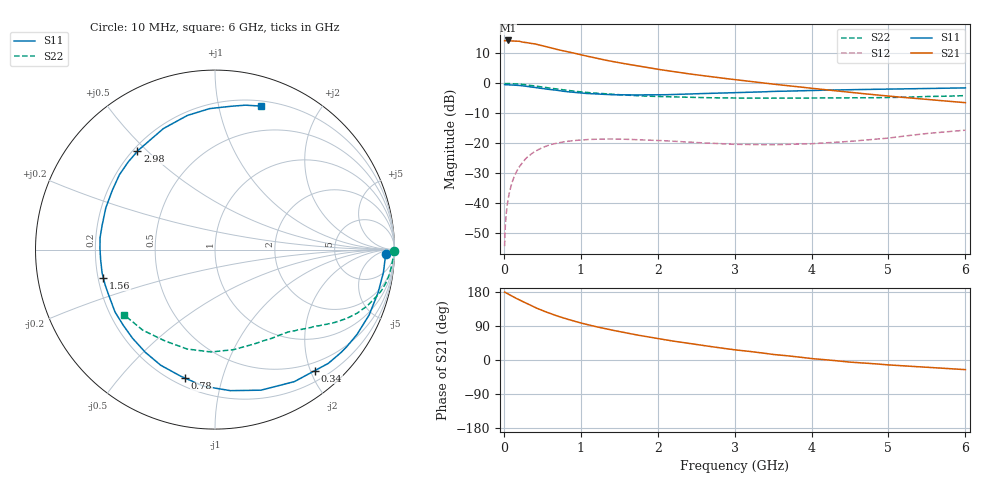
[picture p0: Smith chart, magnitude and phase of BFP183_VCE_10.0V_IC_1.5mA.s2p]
! Infineon Technologies  Discrete & RF Semiconductors
! BFP183
! VCE = 10.0V,  IC =  1.5 mA
! Common Emitter S-Parameters:  Jan 2016
# GHz  S  MA  R  50
!  f  S11  S21  S12  S22
! GHz  MAG  ANG  MAG  ANG  MAG  ANG  MAG  ANG
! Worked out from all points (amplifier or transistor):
!   210 points, 10 MHz to 6 GHz, reference 50 ohm
!   highest |S21| = 14.3 dB at 50 MHz (marker M1)
!   |S21| within 3 dB of that: start of sweep to 691.3 MHz
!   unconditionally stable (mu >= 1): 2.333 GHz to end of sweep
!   at 185 MHz: K = 0.09, MSG = 21.3 dB, |S12| = -28.6 dB
!   at 1.52 GHz: K = 0.64, MSG = 12.7 dB, |S12| = -18.7 dB
!   at 6 GHz: K = 1.01, MAG = 3.9 dB, |S12| = -15.7 dB
!   S11 on the Smith chart (normalised r, x): 10 MHz: 33, -18; 340 MHz: 0.36, -2.07; 780 MHz: 0.25, -0.77; 1.56 GHz: 0.22, -0.12; 2.98 GHz: 0.22, +0.47; 6 GHz: 0.25, +1.34
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0.01  0.9544 -1.5  5.161 179.1  0.0019 85.3  0.9986 -0.5
0.02  0.9491 -3.2  5.16 178.4  0.0043 90.0  0.9887 -1.1
0.05  0.9469 -7.8  5.206 174.6  0.0105 86.8  0.9929 -2.8
0.11  0.9368 -16.6  5.097 168.3  0.0226 78.7  0.9858 -6.1
0.2  0.9217 -30.8  5.045 158.6  0.0401 72.0  0.9695 -11.1
0.34  0.8739 -50.5  4.68 145.2  0.0635 60.3  0.9252 -17.5
0.4  0.8582 -59.0  4.571 139.0  0.0723 56.2  0.905 -20.2
0.5  0.824 -71.9  4.257 130.4  0.0842 49.3  0.8674 -24.1
0.6  0.7905 -83.8  3.972 122.9  0.0942 43.3  0.8332 -27.1
0.7  0.7633 -94.9  3.661 115.8  0.1008 37.8  0.7999 -29.8
0.78  0.7355 -103.0  3.492 110.6  0.1053 34.2  0.7768 -31.6
1.02  0.6869 -125.8  2.964 96.7  0.1134 25.0  0.7157 -36.4
1.28  0.657 -146.5  2.5 84.4  0.1172 17.0  0.6737 -40.6
1.56  0.6417 -165.9  2.142 72.6  0.1164 11.4  0.64 -44.5
1.8  0.6411 179.3  1.903 63.4  0.1135 8.2  0.615 -48.1
2.02  0.6432 167.8  1.704 56.0  0.1109 6.0  0.6026 -51.3
2.4  0.6607 150.0  1.445 43.9  0.1044 3.7  0.5857 -57.9
2.98  0.6976 128.3  1.165 27.5  0.096 5.7  0.5678 -68.6
3.1  0.7023 124.6  1.117 24.8  0.0953 6.8  0.5659 -71.1
4.1  0.7661 99.7  0.801 2.1  0.0997 18.2  0.5692 -94.9
5.1  0.8042 83.4  0.596 -14.1  0.1263 26.4  0.5824 -121.6
6  0.839 72.4  0.475 -25.4  0.1647 22.8  0.624 -144.5
